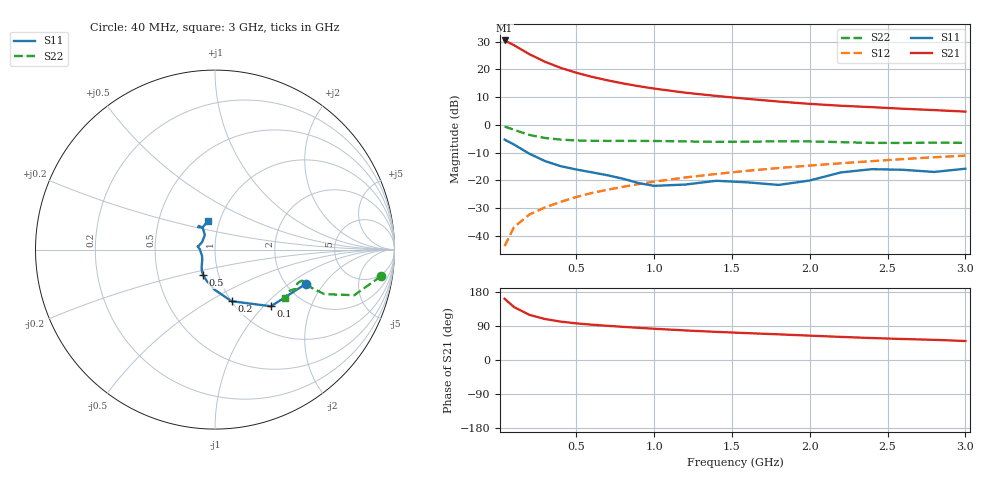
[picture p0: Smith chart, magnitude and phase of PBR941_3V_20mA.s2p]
! Filename:  PBR941G.S2P  Version:  3.0
! Philips part #:  PBR941  Date: July 1998
! Bias condition:  Vce=3V, Ic=20mA
#  MHz  S  MA  R 50
! Freq  S11  S21  S12  S22
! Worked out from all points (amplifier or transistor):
!   21 points, 40 MHz to 3 GHz, reference 50 ohm
!   highest |S21| = 30.4 dB at 40 MHz (marker M1)
!   |S21| within 3 dB of that: start of sweep to 139.8 MHz
!   unconditionally stable (mu >= 1): 651.9 MHz to 2.236 GHz
!   at 300 MHz: K = 0.87, MSG = 26.2 dB, |S12| = -29.7 dB
!   at 1 GHz: K = 1.03, MAG = 15.7 dB, |S12| = -20.4 dB
!   at 3 GHz: K = 0.97, MSG = 7.9 dB, |S12| = -11.1 dB
!   S11 on the Smith chart (normalised r, x): 40 MHz: 2.55, -1.37; 100 MHz: 1.40, -1.10; 200 MHz: 1.00, -0.63; 500 MHz: 0.84, -0.25; 3 GHz: 0.88, +0.29
40  0.5433 -20.4  33.04 161.6  0.006582 81.4  0.9368 -9.1
100  0.444 -45.3  27.18 139.8  0.01444 74.7  0.8169 -18.1
200  0.3019 -72.3  18.64 119.0  0.02453 72.3  0.6591 -22.1
300  0.2233 -90.7  13.64 108.1  0.03277 74.9  0.5815 -21.6
400  0.181 -104.5  10.63 101.4  0.04127 76.0  0.5437 -20.7
500  0.1578 -114.9  8.688 96.7  0.05041 77.5  0.5252 -20.1
600  0.1404 -121.3  7.333 93.2  0.05953 78.1  0.5172 -19.8
700  0.1244 -126.7  6.342 90.2  0.06809 78.9  0.5151 -19.7
800  0.1077 -132.7  5.577 87.5  0.07686 79.3  0.5156 -19.6
900  0.0899 -142.0  4.975 85.0  0.08615 79.5  0.5151 -19.7
1000  0.08006 -155.2  4.504 82.5  0.0952 79.5  0.5138 -19.9
1200  0.08452 178.8  3.799 78.0  0.1133 79.3  0.5049 -20.7
1400  0.09872 169.3  3.319 74.2  0.1311 79.0  0.4961 -22.4
1600  0.09256 166.4  2.943 70.9  0.1494 78.8  0.4984 -24.1
1800  0.0832 148.7  2.631 67.7  0.1678 78.4  0.5067 -25.2
2000  0.09993 124.4  2.39 64.3  0.1855 77.5  0.5052 -25.9
2200  0.1397 119.4  2.211 61.0  0.204 76.5  0.4896 -26.8
2400  0.1598 124.4  2.084 57.9  0.2229 75.7  0.4749 -29.1
2600  0.1556 127.0  1.951 55.4  0.2429 75.2  0.4735 -32.1
2800  0.1425 118.6  1.845 53.2  0.262 74.4  0.4795 -34.0
3000  0.1629 104.1  1.733 50.1  0.2799 73.2  0.4757 -34.6
